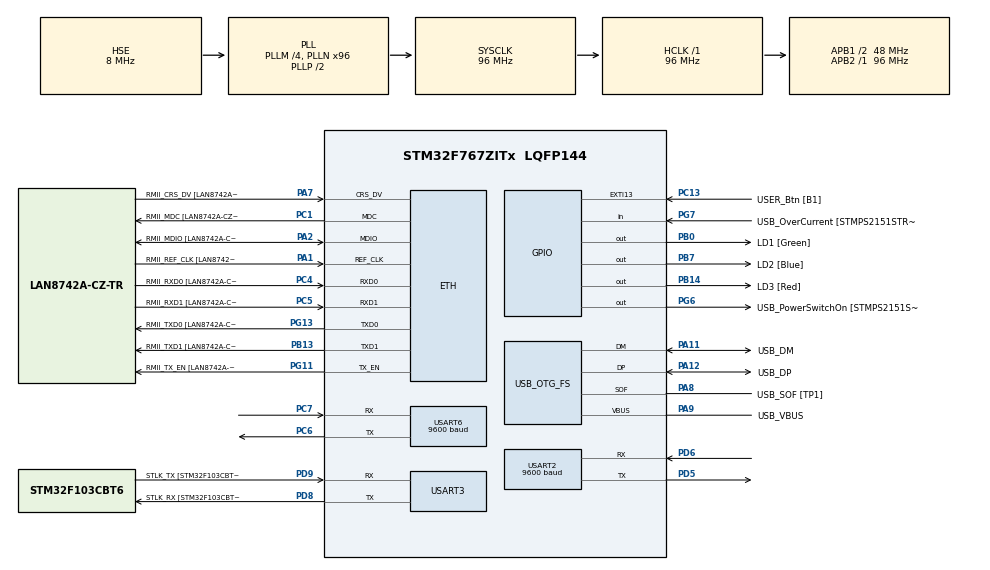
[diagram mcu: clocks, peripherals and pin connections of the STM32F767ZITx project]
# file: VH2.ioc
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ETH.MediaInterface=HAL_ETH_RMII_MODE
ETH.PHY_Name=LAN8742A_PHY_ADDRESS
ETH.PHY_Value=0
ETH.PhyAddress=0
FREERTOS.BinarySemaphores01=send_sms_semaphore,Dynamic,NULL
FREERTOS.Tasks01=defaultTask,24,128,StartDefaultTask,Default,NULL,Dynamic,NULL,NULL;SMS_Task,24,128,SMS_Task_Function,Default,NULL,Dynamic,NULL,NULL;HTTP_Task,16,128,HTTP_Task_Function,Default,NULL,Dynamic,NULL,NULL;SIM_Ping,32,128,Sim_Ping_Task,Default,NULL,Dynamic,NULL,NULL
FREERTOS.configUSE_NEWLIB_REENTRANT=1
Mcu.Family=STM32F7
Mcu.Name=STM32F767ZITx
Mcu.Package=LQFP144
NVIC.OTG_FS_IRQn=true\:5\:0\:false\:false\:true\:true\:false\:true\:true
NVIC.PriorityGroup=NVIC_PRIORITYGROUP_4
NVIC.TIM6_DAC_IRQn=true\:15\:0\:false\:false\:true\:false\:false\:true\:true
NVIC.TimeBase=TIM6_DAC_IRQn
NVIC.TimeBaseIP=TIM6
NVIC.USART2_IRQn=true\:5\:0\:false\:false\:true\:true\:true\:true\:true
NVIC.USART6_IRQn=true\:5\:0\:false\:false\:true\:true\:true\:true\:true
PA1.GPIO_Label=RMII_REF_CLK [LAN8742A-CZ-TR_REFCLK0]
PA1.Mode=RMII
PA1.Signal=ETH_REF_CLK
PA10.GPIO_Label=USB_ID
PA10.Signal=USB_OTG_FS_ID
PA11.GPIO_Label=USB_DM
PA11.Mode=Device_Only
PA11.Signal=USB_OTG_FS_DM
PA12.GPIO_Label=USB_DP
PA12.Mode=Device_Only
PA12.Signal=USB_OTG_FS_DP
PA13.GPIO_Label=TMS
PA13.Mode=Serial_Wire
PA13.Signal=SYS_JTMS-SWDIO
PA14.GPIO_Label=TCK
PA14.Mode=Serial_Wire
PA14.Signal=SYS_JTCK-SWCLK
PA2.GPIO_Label=RMII_MDIO [LAN8742A-CZ-TR_MDIO]
PA2.Mode=RMII
PA2.Signal=ETH_MDIO
PA7.GPIO_Label=RMII_CRS_DV [LAN8742A-CZ-TR_CRS_DV]
PA7.Mode=RMII
PA7.Signal=ETH_CRS_DV
PA8.GPIO_Label=USB_SOF [TP1]
PA8.Mode=Activate_SOF_FS
PA8.Signal=USB_OTG_FS_SOF
PA9.GPIO_Label=USB_VBUS
PA9.Mode=Activate_VBUS
PA9.Signal=USB_OTG_FS_VBUS
PB0.GPIO_Label=LD1 [Green]
PB0.Signal=GPIO_Output
PB13.GPIO_Label=RMII_TXD1 [LAN8742A-CZ-TR_TXD1]
PB13.Mode=RMII
PB13.Signal=ETH_TXD1
PB14.GPIO_Label=LD3 [Red]
PB14.Signal=GPIO_Output
PB3.GPIO_Label=SWO
PB3.Signal=SYS_JTDO-SWO
PB7.GPIO_Label=LD2 [Blue]
PB7.Signal=GPIO_Output
PC1.GPIO_Label=RMII_MDC [LAN8742A-CZ-TR_MDC]
PC1.Mode=RMII
PC1.Signal=ETH_MDC
PC13.GPIO_Label=USER_Btn [B1]
PC13.Signal=GPXTI13
PC14/OSC32_IN.Mode=LSE-External-Oscillator
PC14/OSC32_IN.Signal=RCC_OSC32_IN
PC15/OSC32_OUT.Mode=LSE-External-Oscillator
PC15/OSC32_OUT.Signal=RCC_OSC32_OUT
PC4.GPIO_Label=RMII_RXD0 [LAN8742A-CZ-TR_RXD0]
PC4.Mode=RMII
PC4.Signal=ETH_RXD0
PC5.GPIO_Label=RMII_RXD1 [LAN8742A-CZ-TR_RXD1]
PC5.Mode=RMII
PC5.Signal=ETH_RXD1
PC6.Mode=Asynchronous
PC6.Signal=USART6_TX
PC7.Mode=Asynchronous
PC7.Signal=USART6_RX
PD5.Mode=Asynchronous
PD5.Signal=USART2_TX
PD6.Mode=Asynchronous
PD6.Signal=USART2_RX
PD8.GPIO_Label=STLK_RX [STM32F103CBT6_PA3]
PD8.Mode=Asynchronous
PD8.Signal=USART3_TX
PD9.GPIO_Label=STLK_TX [STM32F103CBT6_PA2]
PD9.Mode=Asynchronous
PD9.Signal=USART3_RX
PG11.GPIO_Label=RMII_TX_EN [LAN8742A-CZ-TR_TXEN]
PG11.Mode=RMII
PG11.Signal=ETH_TX_EN
PG13.GPIO_Label=RMII_TXD0 [LAN8742A-CZ-TR_TXD0]
PG13.Mode=RMII
PG13.Signal=ETH_TXD0
PG6.GPIO_Label=USB_PowerSwitchOn [STMPS2151STR_EN]
PG6.Signal=GPIO_Output
PG7.GPIO_Label=USB_OverCurrent [STMPS2151STR_FAULT]
PG7.Signal=GPIO_Input
PH0/OSC_IN.GPIO_Label=MCO [STM32F103CBT6_PA8]
PH0/OSC_IN.Mode=HSE-External-Clock-Source
PH0/OSC_IN.Signal=RCC_OSC_IN
PH1/OSC_OUT.Mode=HSE-External-Clock-Source
PH1/OSC_OUT.Signal=RCC_OSC_OUT
ProjectManager.HeapSize=0x200
ProjectManager.StackSize=0x400
ProjectManager.TargetToolchain=STM32CubeIDE
RCC.48MHZClocksFreq_Value=24000000
RCC.AHBFreq_Value=96000000
RCC.APB1CLKDivider=RCC_HCLK_DIV2
RCC.APB1Freq_Value=48000000
RCC.APB1TimFreq_Value=96000000
RCC.APB2Freq_Value=96000000
RCC.APB2TimFreq_Value=96000000
RCC.CortexFreq_Value=96000000
RCC.HCLKFreq_Value=96000000
RCC.HSE_VALUE=8000000
RCC.HSI_VALUE=16000000
RCC.PLLM=4
RCC.PLLMUL=RCC_PLL_MUL9
RCC.PLLN=96
RCC.PLLQ=4
RCC.PRESCALERUSB=RCC_USBCLKSOURCE_PLL_DIV1_5
RCC.SYSCLKFreq_VALUE=96000000
RCC.SYSCLKSource=RCC_SYSCLKSOURCE_PLLCLK
RCC.SYSCLKSourceVirtual=RCC_SYSCLKSOURCE_PLLCLK
RCC.USBFreq_Value=48000000
RCC.VCOOutputFreq_Value=192000000
USART2.BaudRate=9600
USART2.VirtualMode-Asynchronous=VM_ASYNC
USART3.VirtualMode-Asynchronous=VM_ASYNC
USART6.BaudRate=9600
USART6.VirtualMode-Asynchronous=VM_ASYNC
USB_DEVICE.CLASS_NAME_FS=CDC
USB_DEVICE.VirtualMode-CDC_FS=Cdc
USB_DEVICE.VirtualModeFS=Cdc_FS
USB_OTG_FS.VirtualMode=Device_Only
VP_FREERTOS_VS_CMSIS_V2.Mode=CMSIS_V2
VP_SYS_VS_tim6.Mode=TIM6
VP_USB_DEVICE_VS_USB_DEVICE_CDC_FS.Mode=CDC_FS
board=NUCLEO-F767ZI

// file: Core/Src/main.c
/* USER CODE BEGIN Header */
/**
  ******************************************************************************
  * @file           : main.c
  * @brief          : Main program body
  ******************************************************************************
  * @attention
  *
  * Copyright (c) 2024 STMicroelectronics.
  * All rights reserved.
  *
  * This software is licensed under terms that can be found in the LICENSE file
  * in the root directory of this software component.
  * If no LICENSE file comes with this software, it is provided AS-IS.
  *
  ******************************************************************************
  */
/* USER CODE END Header */
#include "main.h"
#include "cmsis_os.h"
#include "eth.h"
#include "usart.h"
#include "usb_device.h"
#include "gpio.h"

/* USER CODE BEGIN Includes */
#include "gps.h"
#include "string.h"
/* USER CODE END Includes */

void SystemClock_Config(void);
void MX_FREERTOS_Init(void);

int main(void)
{

  /* MCU Configuration--------------------------------------------------------*/

  /* Reset of all peripherals, Initializes the Flash interface and the Systick. */
  HAL_Init();

  /* Configure the system clock */
  SystemClock_Config();

  /* Initialize all configured peripherals */
  MX_GPIO_Init();
  MX_ETH_Init();
  MX_USART2_UART_Init();
  MX_USART3_UART_Init();
  MX_USART6_UART_Init();

  /* Init scheduler */
  osKernelInitialize();

  /* Call init function for freertos objects (in cmsis_os2.c) */
  MX_FREERTOS_Init();

  /* Start scheduler */
  osKernelStart();

  /* We should never get here as control is now taken by the scheduler */

  /* Infinite loop */
  while (1)
  {

  }
}

void SystemClock_Config(void)
{
  RCC_OscInitTypeDef RCC_OscInitStruct = {0};
  RCC_ClkInitTypeDef RCC_ClkInitStruct = {0};

  /** Configure LSE Drive Capability
  */
  HAL_PWR_EnableBkUpAccess();

  /** Configure the main internal regulator output voltage
  */
  __HAL_RCC_PWR_CLK_ENABLE();
  __HAL_PWR_VOLTAGESCALING_CONFIG(PWR_REGULATOR_VOLTAGE_SCALE3);

  /** Initializes the RCC Oscillators according to the specified parameters
  * in the RCC_OscInitTypeDef structure.
  */
  RCC_OscInitStruct.OscillatorType = RCC_OSCILLATORTYPE_HSE;
  RCC_OscInitStruct.HSEState = RCC_HSE_BYPASS;
  RCC_OscInitStruct.PLL.PLLState = RCC_PLL_ON;
  RCC_OscInitStruct.PLL.PLLSource = RCC_PLLSOURCE_HSE;
  RCC_OscInitStruct.PLL.PLLM = 4;
  RCC_OscInitStruct.PLL.PLLN = 96;
  RCC_OscInitStruct.PLL.PLLP = RCC_PLLP_DIV2;
  RCC_OscInitStruct.PLL.PLLQ = 4;
  RCC_OscInitStruct.PLL.PLLR = 2;
  if (HAL_RCC_OscConfig(&RCC_OscInitStruct) != HAL_OK)
  {
    Error_Handler();
  }

  /** Activate the Over-Drive mode
  */
  if (HAL_PWREx_EnableOverDrive() != HAL_OK)
  {
    Error_Handler();
  }

  /** Initializes the CPU, AHB and APB buses clocks
  */
  RCC_ClkInitStruct.ClockType = RCC_CLOCKTYPE_HCLK|RCC_CLOCKTYPE_SYSCLK
                              |RCC_CLOCKTYPE_PCLK1|RCC_CLOCKTYPE_PCLK2;
  RCC_ClkInitStruct.SYSCLKSource = RCC_SYSCLKSOURCE_PLLCLK;
  RCC_ClkInitStruct.AHBCLKDivider = RCC_SYSCLK_DIV1;
  RCC_ClkInitStruct.APB1CLKDivider = RCC_HCLK_DIV2;
  RCC_ClkInitStruct.APB2CLKDivider = RCC_HCLK_DIV1;

  if (HAL_RCC_ClockConfig(&RCC_ClkInitStruct, FLASH_LATENCY_3) != HAL_OK)
  {
    Error_Handler();
  }
}

void HAL_TIM_PeriodElapsedCallback(TIM_HandleTypeDef *htim)
{
  if (htim->Instance == TIM6) {
    HAL_IncTick();
  }
}

void Error_Handler(void)
{
  __disable_irq();
  while (1)
  {
  }
}

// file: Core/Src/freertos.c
/* USER CODE BEGIN Header */
/**
  ******************************************************************************
  * File Name          : freertos.c
  * Description        : Code for freertos applications
  ******************************************************************************
  * @attention
  *
  * Copyright (c) 2024 STMicroelectronics.
  * All rights reserved.
  *
  * This software is licensed under terms that can be found in the LICENSE file
  * in the root directory of this software component.
  * If no LICENSE file comes with this software, it is provided AS-IS.
  *
  ******************************************************************************
  */
/* USER CODE END Header */

#include "FreeRTOS.h"
#include "task.h"
#include "main.h"
#include "cmsis_os.h"
#include "usart.h"
#include "usb_device.h"
#include "gpio.h"

/* USER CODE BEGIN Includes */
#include "gps.h"
#include "string.h"
#include "semphr.h"
/* USER CODE END Includes */

/* USER CODE BEGIN PTD */
typedef enum {
    NETWORK_NO_SIGNAL = 0,
    NETWORK_CONNECTED = 1,
	NETWORK_DISCONNECTED = 2
} NetworkState_t;

typedef enum {
    DEVICE_IDLE = 0,
    DEVICE_POSTING_HTTP_DATA = 1,
	DEVICE_SENDING_SMS = 2
} DeviceState_t;
/* USER CODE END PTD */

/* USER CODE BEGIN PD */

DeviceState_t Device_State = DEVICE_IDLE;

int smv = 0;
uint8_t tx;
uint8_t uartbuff[100];
uint8_t uartbuffindex = 0;
uint8_t is_network_connected = 0;

float askari_10[2] = {31.535449, 74.417237};
int send_text = 0;
int location_sent = 0;
int location_posted = 0;
int text_message_sent = 0;
int posting_location = 0;

/* USER CODE END PD */

/* Definitions for defaultTask */
osThreadId_t defaultTaskHandle;
const osThreadAttr_t defaultTask_attributes = {
  .name = "defaultTask",
  .stack_size = 256 * 4,
  .priority = (osPriority_t) osPriorityNormal,
};
/* Definitions for SMS_Task */
osThreadId_t SMS_TaskHandle;
const osThreadAttr_t SMS_Task_attributes = {
  .name = "SMS_Task",
  .stack_size = 256 * 4,
  .priority = (osPriority_t) osPriorityNormal,
};
/* Definitions for HTTP_Task */
osThreadId_t HTTP_TaskHandle;
const osThreadAttr_t HTTP_Task_attributes = {
  .name = "HTTP_Task",
  .stack_size = 256 * 4,
  .priority = (osPriority_t) osPriorityBelowNormal,
};
/* Definitions for SIM_Ping */
osThreadId_t SIM_PingHandle;
const osThreadAttr_t SIM_Ping_attributes = {
  .name = "SIM_Ping",
  .stack_size = 256 * 4,
  .priority = (osPriority_t) osPriorityAboveNormal,
};
/* Definitions for send_sms_semaphore */
osSemaphoreId_t send_sms_semaphoreHandle;
osSemaphoreId_t post_location_semaphore;
osSemaphoreId_t ping_modem_semaphore;
const osSemaphoreAttr_t send_sms_semaphore_attributes = {
  .name = "send_sms_semaphore"
};
const osSemaphoreAttr_t post_location_semaphore_attributes = {
  .name = "post_location_semaphore"
};
const osSemaphoreAttr_t ping_modem_semaphore_attributes = {
  .name = "ping_modem_semaphore"
};

/* USER CODE BEGIN FunctionPrototypes */

void HAL_UART_RxCpltCallback(UART_HandleTypeDef *huart)
{

	if(huart == &huart2) GPS_UART_CallBack();

	if(huart == &huart6)
	{
		uartbuff[uartbuffindex++] = tx;
		if (uartbuffindex > 99) uartbuffindex = 0;
		HAL_UART_Receive_IT(&huart6, &tx, 1);

		if (strstr((char*)uartbuff, "CMT") != NULL)
		{
			send_text = 1;
			// Give the semaphore to unblock the task
			xSemaphoreGiveFromISR(send_sms_semaphoreHandle, NULL);
			HAL_UART_Transmit(&huart3, (uint8_t *) "MSG RCVD \n", 11, HAL_MAX_DELAY);
		}

		if (strstr((char*)uartbuff, "CREG: 0,1") != NULL)
		{
			is_network_connected = 1;
		}
		else if (strstr((char*)uartbuff, "CREG: 0,2") != NULL)
		{
			is_network_connected = 2;
		}
	}
}

void SIM_SendCmd(char* cmd)
{
  HAL_UART_Transmit_IT(&huart6, (uint8_t*)cmd, strlen(cmd));
}

void SIM_PostData(float latti, float longi)
{
	Device_State = DEVICE_POSTING_HTTP_DATA;
	SIM_SendCmd("AT+CREG?\r\n");
	vTaskDelay(pdMS_TO_TICKS(500));

	if(is_network_connected != 1) return;

	char cmdi[256];
	if(latti > 0.0 && longi > 0.0)
		sprintf(cmdi, "{\"location\":{\"value\":1,\"context\":{\"lat\":%f,\"lng\":%f}}}\r\n", latti, longi);
	else
		sprintf(cmdi, "{\"location\":{\"value\":1,\"context\":{\"lat\":31.47557,\"lng\":74.34190}}}\r\n");

	SIM_SendCmd("AT+CREG?\r\n");
	vTaskDelay(pdMS_TO_TICKS(500));
	SIM_SendCmd("AT+CSQ\r\n");
	vTaskDelay(pdMS_TO_TICKS(500));
	SIM_SendCmd("AT+CGATT=1\r\n");
	vTaskDelay(pdMS_TO_TICKS(1000));
	SIM_SendCmd("AT+SAPBR=3,1,\"CONTYPE\",\"GPRS\"\r\n");
	vTaskDelay(pdMS_TO_TICKS(500));
	SIM_SendCmd("AT+SAPBR=3,1,\"APN\",\"ufone.pinternet\"\r\n");
	vTaskDelay(pdMS_TO_TICKS(500));
	SIM_SendCmd("AT+SAPBR=1,1\r\n");
	vTaskDelay(pdMS_TO_TICKS(1000));
	SIM_SendCmd("AT+SAPBR=2,1\r\n");
	vTaskDelay(pdMS_TO_TICKS(1000));
	SIM_SendCmd("AT+HTTPINIT\r\n");
	vTaskDelay(pdMS_TO_TICKS(1000));
	SIM_SendCmd("AT+HTTPPARA=\"CID\",1\r\n");
	vTaskDelay(pdMS_TO_TICKS(500));
	SIM_SendCmd("AT+HTTPPARA=\"URL\",\"industrial.api.ubidots.com/api/v1.6/devices/vhtracker\"\r\n");
	vTaskDelay(pdMS_TO_TICKS(500));
	SIM_SendCmd("AT+HTTPPARA=\"CONTENT\",\"application/json\"\r\n");
	vTaskDelay(pdMS_TO_TICKS(500));
	SIM_SendCmd("AT+HTTPPARA=\"USERDATA\",\"X-Auth-Token: BBUS-57yGDiCc5NPs7gMwJdQAhLdp3SoJBU\"\r\n");
	vTaskDelay(pdMS_TO_TICKS(500));
	SIM_SendCmd("AT+HTTPDATA=200,3000\r\n");
	vTaskDelay(pdMS_TO_TICKS(1000));
	//SIM_SendCmd("{\"location\":{\"value\":1,\"context\":{\"lat\":37.773,\"lng\":71.431}}}\r\n");
	SIM_SendCmd(cmdi);
	vTaskDelay(pdMS_TO_TICKS(3000));
	SIM_SendCmd("AT+HTTPACTION=1\r\n");
	vTaskDelay(pdMS_TO_TICKS(5000));
	SIM_SendCmd("AT+HTTPREAD\r\n");
	vTaskDelay(pdMS_TO_TICKS(500));
	SIM_SendCmd("AT+HTTPTERM\r\n");
	vTaskDelay(pdMS_TO_TICKS(500));

	location_sent++;
	Device_State = DEVICE_IDLE;

}

void SIM_SendTextMessage(char* phoneNumber, char* message)
{
  char cmd[160];
  Device_State = DEVICE_SENDING_SMS;

  SIM_SendCmd("AT+CREG?\r\n");
  vTaskDelay(pdMS_TO_TICKS(1000));

  if(is_network_connected == 1)
  {
	  SIM_SendCmd("AT+CMGF=1\r\n");  // Set SMS text mode
	  vTaskDelay(pdMS_TO_TICKS(1000));
	  SIM_SendCmd("AT+CSCS=\"GSM\"\r\n");  // Set character set to GSM
	  vTaskDelay(pdMS_TO_TICKS(1000));

	  // Set the recipient phone number
	  sprintf(cmd, "AT+CMGS=\"%s\"\r\n", phoneNumber);
	  SIM_SendCmd(cmd);
	  vTaskDelay(pdMS_TO_TICKS(1000));  // Wait for the prompt '>'

	  // Send the SMS message
	  sprintf(cmd, "%s%c", message, 26);  // 26 is the ASCII code for Ctrl+Z
	  SIM_SendCmd(cmd);
	  vTaskDelay(pdMS_TO_TICKS(5000));  // Wait for the message to be sent

	  text_message_sent++;
  }

  Device_State = DEVICE_IDLE;
}

/* USER CODE END FunctionPrototypes */

void StartDefaultTask(void *argument);
void SMS_Task_Function(void *argument);
void HTTP_Task_Function(void *argument);
void Sim_Ping_Task(void *argument);

extern void MX_USB_DEVICE_Init(void);
void MX_FREERTOS_Init(void); /* (MISRA C 2004 rule 8.1) */

void MX_FREERTOS_Init(void) {

  /* Create the semaphores(s) */
  /* creation of send_sms_semaphore */
  send_sms_semaphoreHandle = osSemaphoreNew(1, 0, &send_sms_semaphore_attributes);
  post_location_semaphore = osSemaphoreNew(1, 0, &post_location_semaphore_attributes);
  ping_modem_semaphore = osSemaphoreNew(1, 0, &ping_modem_semaphore_attributes);

  /* Create the thread(s) */
  /* creation of defaultTask */
  defaultTaskHandle = osThreadNew(StartDefaultTask, NULL, &defaultTask_attributes);

  /* creation of SMS_Task */
  SMS_TaskHandle = osThreadNew(SMS_Task_Function, NULL, &SMS_Task_attributes);

  /* creation of HTTP_Task */
  HTTP_TaskHandle = osThreadNew(HTTP_Task_Function, NULL, &HTTP_Task_attributes);

  /* creation of SIM_Ping */
  SIM_PingHandle = osThreadNew(Sim_Ping_Task, NULL, &SIM_Ping_attributes);

}

void StartDefaultTask(void *argument)
{
  /* init code for USB_DEVICE */
  MX_USB_DEVICE_Init();
  GPS_Init();
  for(;;)
  {
    osDelay(1);
  }
}

void SMS_Task_Function(void *argument)
{
  /* USER CODE BEGIN SMS_Task_Function */
  /* Infinite loop */
  for(;;)
  {
	 // Wait indefinitely for the semaphore
	if (xSemaphoreTake(send_sms_semaphoreHandle, portMAX_DELAY) == pdTRUE)
	{
	  // Task code to run once upon receiving UART data
		vTaskSuspend(SIM_PingHandle);
		vTaskSuspend(HTTP_TaskHandle);
		char url[100];

		if(GPS_LAT() > 0.0 && GPS_LNG() > 0.0)
			sprintf(url, "https://maps.google.com/?q=%f,%f", GPS_LAT(), GPS_LNG());
		else
			sprintf(url, "https://maps.google.com/?q=%f,%f", 31.47557, 74.34190);

		SIM_SendTextMessage("+923164044136", url);
		send_text = 0;
		memset(uartbuff, 0, 100);
		uartbuffindex = 0;
		vTaskResume(SIM_PingHandle);
		vTaskResume(HTTP_TaskHandle);
	}
    osDelay(1000);
  }
  /* USER CODE END SMS_Task_Function */
}

void HTTP_Task_Function(void *argument)
{
  /* USER CODE BEGIN HTTP_Task_Function */
  /* Infinite loop */
  for(;;)
  {
	vTaskSuspend(SIM_PingHandle);
	vTaskSuspend(SMS_TaskHandle);
	SIM_PostData(GPS_LAT(), GPS_LNG());
	vTaskResume(SIM_PingHandle);
	vTaskResume(SMS_TaskHandle);
	vTaskDelay(pdMS_TO_TICKS(30000));
  }
  /* USER CODE END HTTP_Task_Function */
}

void Sim_Ping_Task(void *argument)
{
  /* USER CODE BEGIN Sim_Ping_Task */
	HAL_UART_Receive_IT(&huart6, &tx, 1);
	char usb_buff[100];
  /* Infinite loop */
  for(;;)
  {
	HAL_UART_Transmit_IT(&huart6, (uint8_t *)"AT+CREG?\r\n", 10);
	Device_State = DEVICE_IDLE;
	sprintf(usb_buff, "Connection Status: %d \n", is_network_connected);
	HAL_UART_Transmit(&huart3, (uint8_t *)usb_buff, 23, HAL_MAX_DELAY);
    //osDelay(pdMS_TO_TICKS(1000));
    vTaskDelay(pdMS_TO_TICKS(1000));
  }
  /* USER CODE END Sim_Ping_Task */
}
